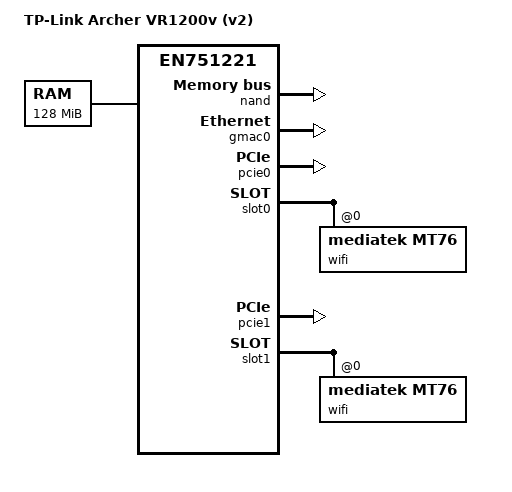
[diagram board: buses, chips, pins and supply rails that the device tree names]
// SPDX-License-Identifier: (GPL-2.0-only OR BSD-2-Clause)
/dts-v1/;

#include "en751221.dtsi"

/ {
	model = "TP-Link Archer VR1200v (v2)";
	compatible = "tplink,archer-vr1200v-v2", "econet,en751221";

	memory@0 {
		device_type = "memory";
		reg = <0x00000000 0x8000000>;
	};

	chosen {
		stdout-path = "/serial@1fbf0000:115200";
		linux,usable-memory-range = <0x00020000 0x07fe0000>;
	};
};

&nand {
        status = "okay";
        econet,bmt;

        partitions {
                compatible = "fixed-partitions";
                #address-cells = <1>;
                #size-cells = <1>;

                // This is a guess because we don't yet know the real layout.

                partition@20000 {
                        label = "tclinux";
                        // Guessing we have 20MB available (????)
                        reg = <0x20000 0x1400000>;
                };

                partition@420000 {
                        reg = <0x420000 0xfe0000>;
                        label = "rootfs";
                        linux,rootfs;
                };

                partition@0 {
                        label = "all_of_flash";
                        reg = <0x0 0x40000000>;
                        read-only;
                };
        };
};


&gmac0 {
	status = "okay";
};

&pcie0 {
	status = "okay";
};
&slot0 {
	wifi@0,0 {
		/* MT7592 */
		compatible = "mediatek,mt76";
		reg = <0x0000 0 0 0 0>;
	};
};
&pcie1 {
	status = "okay";
};
&slot1 {
	wifi@0,0 {
		/* MT7613BE */
		compatible = "mediatek,mt76";
		reg = <0x0000 0 0 0 0>;
	};
};
